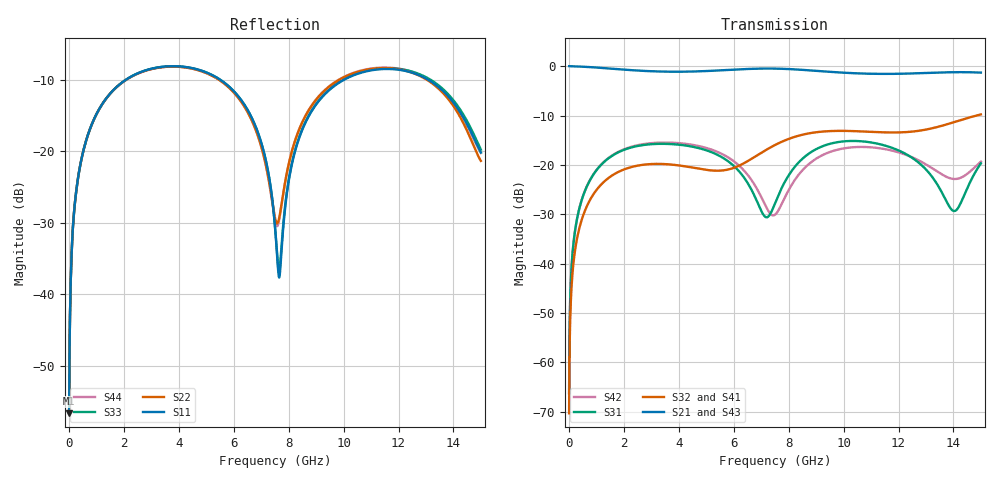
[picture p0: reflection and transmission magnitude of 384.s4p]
! Created with skrf 1.8.0 (http://scikit-rf.org).
# GHz S RI R 50.0
!freq ReS11 ImS11 ReS12 ImS12 ReS13 ImS13
! ReS14 ImS14
! ReS21 ImS21 ReS22 ImS22 ReS23 ImS23
! ReS24 ImS24
! ReS31 ImS31 ReS32 ImS32 ReS33 ImS33
! ReS34 ImS34
! ReS41 ImS41 ReS42 ImS42 ReS43 ImS43
! ReS44 ImS44
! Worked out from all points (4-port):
!   2499 points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, 5 MHz to 15 GHz, reference 50 ohm
!   strongest paths, dB at 5 MHz, 3.476 GHz, 7.19 GHz, 11.1 GHz, 15 GHz:
!     S21: 0.0, -1.1, -0.5, -1.6, -1.3
!     S43: 0.0, -1.1, -0.5, -1.6, -1.3
!     S32: -70.3, -19.8, -16.9, -13.3, -9.8
!     S41: -70.3, -19.8, -16.9, -13.3, -9.8
!     S31: -66.2, -15.7, -30.6, -15.5, -19.7
!     S42: -66.2, -15.5, -28.6, -16.5, -19.3
!   lowest |S11| = -56.6 dB at 5 MHz (marker M1), VSWR 1.00, Z = 50.1 + j0.0897 ohm
!   |S11| at or under -10 dB: start of sweep to 2.085 GHz; 5.495 GHz to 10.03 GHz (4.537 GHz wide, 58.4 % of centre); 13.07 GHz to end of sweep
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0.005  0.00118 0.000895  0.9988 -0.0023  5.86e-05 0.000485  -5.69e-05 -0.0003
       0.9988 -0.0023  0.00118 0.000895  -5.69e-05 -0.0003  5.87e-05 0.000485
       5.86e-05 0.000485  -5.69e-05 -0.0003  0.00118 0.000895  0.9988 -0.0023
       -5.69e-05 -0.0003  5.87e-05 0.000485  0.9988 -0.0023  0.00118 0.000895
0.4626928  0.0252 0.0859  0.965 -0.2102  0.0122 0.0423  -0.0103 -0.0258
           0.965 -0.2102  0.0251 0.086  -0.0103 -0.0258  0.0128 0.0422
           0.0122 0.0423  -0.0103 -0.0258  0.0252 0.0859  0.965 -0.2102
           -0.0103 -0.0258  0.0128 0.0422  0.965 -0.2102  0.0251 0.0859
2.376364  0.2985 0.1634  0.4832 -0.7666  0.1402 0.0608  -0.0966 0.00592
          0.4832 -0.7666  0.296 0.1653  -0.0965 0.0058  0.1476 0.0489
          0.1402 0.0608  -0.0965 0.0058  0.2986 0.1634  0.4832 -0.7666
          -0.0966 0.00592  0.1476 0.0489  0.4832 -0.7666  0.296 0.1653
6.246353  0.1405 -0.183  -0.7283 -0.5762  0.0604 -0.0566  -0.042 0.0906
          -0.7283 -0.5762  0.1487 -0.1689  -0.0428 0.0901  0.015 -0.0941
          0.0604 -0.0566  -0.0428 0.0901  0.141 -0.1825  -0.7284 -0.576
          -0.042 0.0906  0.015 -0.0941  -0.7284 -0.576  0.148 -0.1691
7.628178  0.013 -0.0048  -0.9401 -0.0615  0.0378 0.0317  -0.00556 0.1654
          -0.9401 -0.0615  0.0317 0.00755  -0.0068 0.1653  -0.0252 0.0239
          0.0378 0.0317  -0.0068 0.1653  0.0145 -0.00395  -0.9401 -0.061
          -0.00556 0.1654  -0.0252 0.0239  -0.9401 -0.061  0.0303 0.00822
9.972905  0.2644 0.1651  -0.5346 0.672  0.1726 0.00647  0.2026 0.0906
          -0.5346 0.672  0.2879 0.1519  0.2009 0.0921  0.1427 0.0329
          0.1726 0.00647  0.2009 0.0921  0.2689 0.1639  -0.5333 0.6719
          0.2026 0.0906  0.1427 0.0329  -0.5333 0.6719  0.2879 0.1555
15  0.0851 -0.0484  0.8304 0.2222  -0.00997 0.1033  0.0803 -0.3138
    0.8304 0.2222  0.0798 -0.0307  0.0859 -0.3126  -0.0599 0.0898
    -0.00997 0.1033  0.0859 -0.3126  0.0831 -0.06  0.8288 0.2252
    0.0803 -0.3138  -0.0599 0.0898  0.8288 0.2252  0.0882 -0.0406
